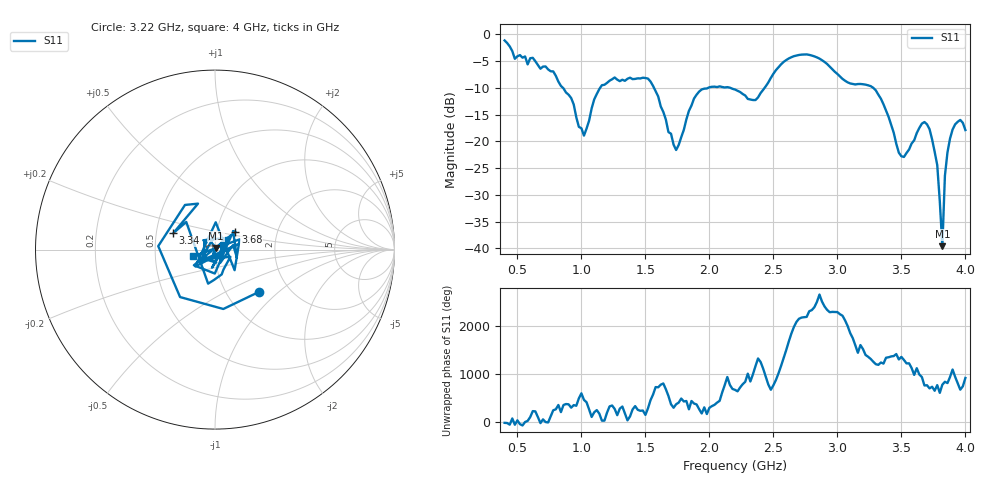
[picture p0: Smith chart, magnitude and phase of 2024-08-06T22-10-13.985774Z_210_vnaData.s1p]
!Created with skrf (http://scikit-rf.org).
# Hz S RI R 50.0
!freq ReS11 ImS11
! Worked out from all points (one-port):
!   181 points, 400 MHz to 4 GHz, reference 50 ohm
!   lowest |S11| = -39.6 dB at 3.82 GHz (marker M1), VSWR 1.02, Z = 50.5 + j0.897 ohm
!   |S11| at or under -10 dB: 855.9 MHz to 1.146 GHz (290.3 MHz wide, 29 % of centre); 1.567 GHz to 1.99 GHz (423.2 MHz wide, 23.8 % of centre); 3.281 GHz to end of sweep (the widest 3 of 4)
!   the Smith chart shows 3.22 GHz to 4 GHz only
!   S11 on the Smith chart (normalised r, x): 3.22 GHz: 1.41, -0.75; 3.34 GHz: 0.61, +0.12; 3.68 GHz: 1.23, +0.25; 4 GHz: 0.78, -0.06
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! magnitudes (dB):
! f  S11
! 400 MHz  -1.1
! 480 MHz  -4.6
! 620 MHz  -4.4
! 860 MHz  -10.1
! 1.02 GHz  -18.9
! 1.14 GHz  -10.2
! 1.3 GHz  -8.7
! 1.52 GHz  -8.3
! 1.72 GHz  -20.6
! 1.76 GHz  -20.7
! 1.92 GHz  -10.7
! 2.2 GHz  -10.3
! 2.36 GHz  -12.3
! 2.66 GHz  -4.1
! 2.86 GHz  -4.5
! 3.1 GHz  -9.2
! 3.22 GHz  -9.4
! 3.34 GHz  -12.0
! 3.48 GHz  -22.1
! 3.56 GHz  -21.5
! 3.68 GHz  -16.4
! 3.72 GHz  -17.7
! 3.78 GHz  -24.4
! 3.82 GHz  -39.6
! 3.84 GHz  -26.4
! 3.88 GHz  -19.5
! 3.96 GHz  -16.0
! 4 GHz  -17.9
